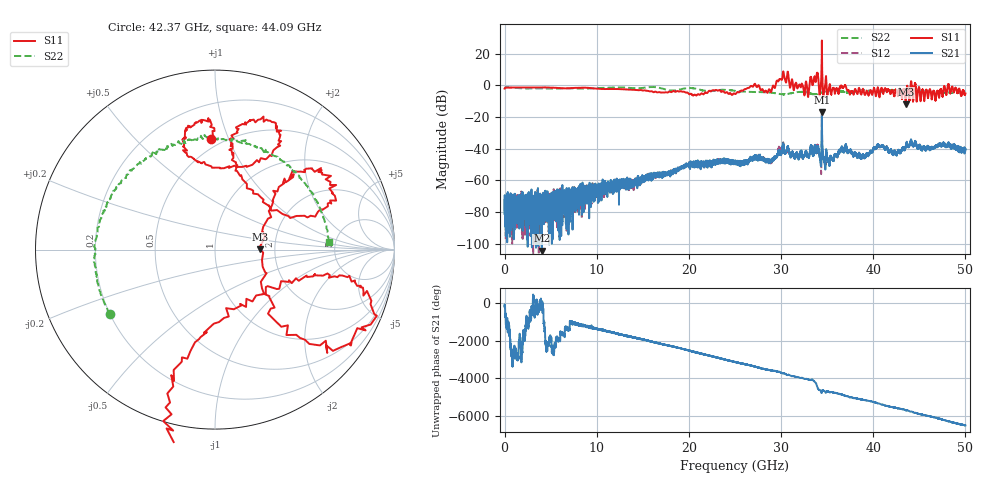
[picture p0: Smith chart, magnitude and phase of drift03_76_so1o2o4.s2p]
!Created with skrf (http://scikit-rf.org).
# Hz S RI R 50.0
!freq ReS11 ImS11 ReS21 ImS21 ReS12 ImS12 ReS22 ImS22
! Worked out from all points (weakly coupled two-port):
!   10000 points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, 5.3 MHz to 50 GHz, reference 50 ohm
!   highest |S21| = -17.07 dB at 34.43 GHz (marker M1); lowest = -104.5 dB at 4.04 GHz (marker M2)
!   lowest |S11| = -12.0 dB at 43.52 GHz (marker M3), VSWR 1.67, Z = 83.4 + j0.434 ohm
!   |S11| at or under -10 dB: 43.48347 GHz to 43.55089 GHz (67.42 MHz wide, 0.155 % of centre); 44.31197 GHz to 44.31801 GHz (6.044 MHz wide, 0.0136 % of centre); 45.13434 GHz to 45.14396 GHz (9.618 MHz wide, 0.0213 % of centre) (the widest 3 of 5)
!   |S22| runs from -5.8 to -1.1 dB; largest |S21 - S12| = 0.038
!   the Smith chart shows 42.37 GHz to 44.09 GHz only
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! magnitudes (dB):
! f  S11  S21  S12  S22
! 5.3 MHz  -2.1  -81.3  -72.2  -1.3
! 4.04 GHz  -1.4  -104.5  -81.4  -2.0
! 8.34 GHz  -1.5  -73.1  -71.4  -2.1
! 16.67 GHz  -4.4  -55.9  -55.6  -1.5
! 20.38 GHz  -6.2  -49.4  -51.5  -1.8
! 25.01 GHz  -5.5  -49.2  -48.3  -3.5
! 27.02 GHz  -0.3  -46.3  -46.4  -4.2
! 28.72 GHz  -2.5  -48.9  -48.1  -4.5
! 30.14 GHz  4.4  -40.6  -40.9  -5.7
! 32.74 GHz  2.0  -42.4  -41.6  -4.6
! 33.34 GHz  2.6  -40.0  -40.1  -5.5
! 33.82 GHz  4.0  -42.1  -41.6  -5.7
! 34.43 GHz  28.3  -17.1  -19.1  -4.6
! 35.31 GHz  0.4  -47.3  -46.1  -3.3
! 36.86 GHz  -0.6  -41.4  -41.0  -4.2
! 38.85 GHz  -2.6  -43.9  -44.3  -3.2
! 40.63 GHz  -6.1  -38.1  -38.5  -4.0
! 41.67 GHz  -2.9  -42.1  -42.1  -3.3
! 43.52 GHz  -12.0  -39.1  -38.4  -4.1
! 46.94 GHz  -3.6  -38.8  -38.1  -4.9
! 48.32 GHz  -4.4  -38.3  -38.1  -4.5
! 50 GHz  -5.2  -40.2  -40.3  -4.5
